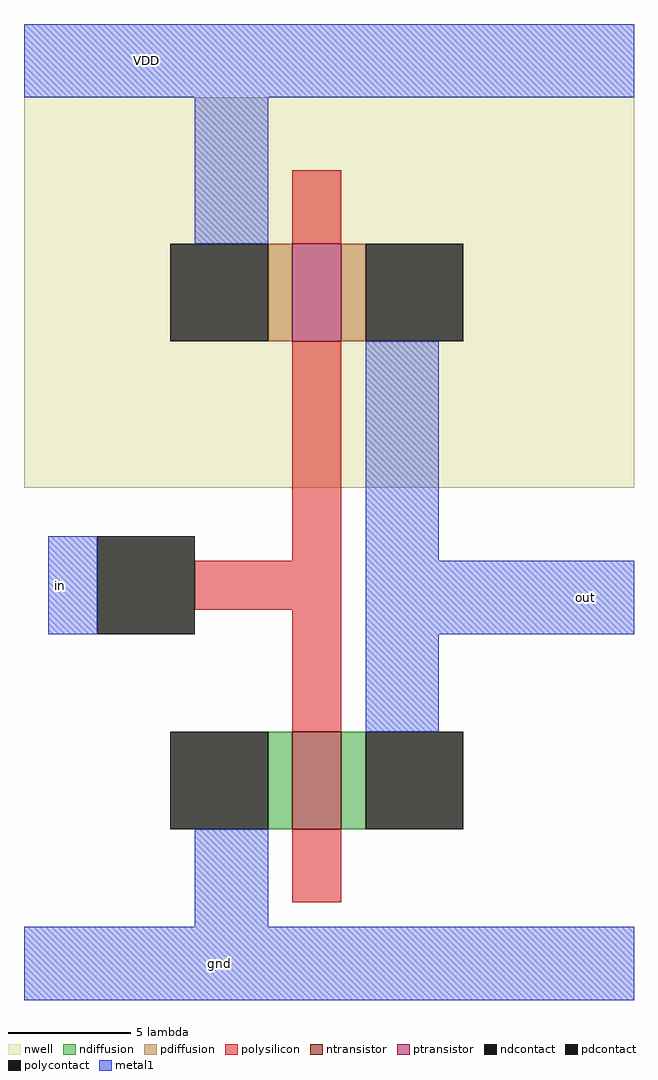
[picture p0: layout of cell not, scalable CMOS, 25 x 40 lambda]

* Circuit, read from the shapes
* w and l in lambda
.subckt not VDD gnd in out
M1 out in gnd VSUBS nfet w=4 l=2
M2 out in VDD n1 pfet w=4 l=2
.ends

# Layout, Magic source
magic
tech scmos
<< nwell >>
rect -9 1 16 17
<< ntransistor >>
rect 2 -13 4 -9
<< ptransistor >>
rect 2 7 4 11
<< ndiffusion >>
rect 1 -13 2 -9
rect 4 -13 5 -9
<< pdiffusion >>
rect 1 7 2 11
rect 4 7 5 11
<< ndcontact >>
rect -3 -13 1 -9
rect 5 -13 9 -9
<< pdcontact >>
rect -3 7 1 11
rect 5 7 9 11
<< polysilicon >>
rect 2 11 4 14
rect 2 -2 4 7
rect -2 -4 4 -2
rect 2 -9 4 -4
rect 2 -16 4 -13
<< polycontact >>
rect -6 -5 -2 -1
<< metal1 >>
rect -9 17 16 20
rect -2 11 1 17
rect -8 -5 -6 -1
rect 5 -2 8 7
rect 5 -5 16 -2
rect 5 -9 8 -5
rect -2 -17 1 -13
rect -9 -20 16 -17
<< labels >>
rlabel metal1 -5 18 -3 19 4 VDD
rlabel metal1 -8 -4 -7 -2 3 in
rlabel metal1 13 -4 15 -3 7 out
rlabel metal1 -2 -19 0 -18 1 gnd
<< end >>
